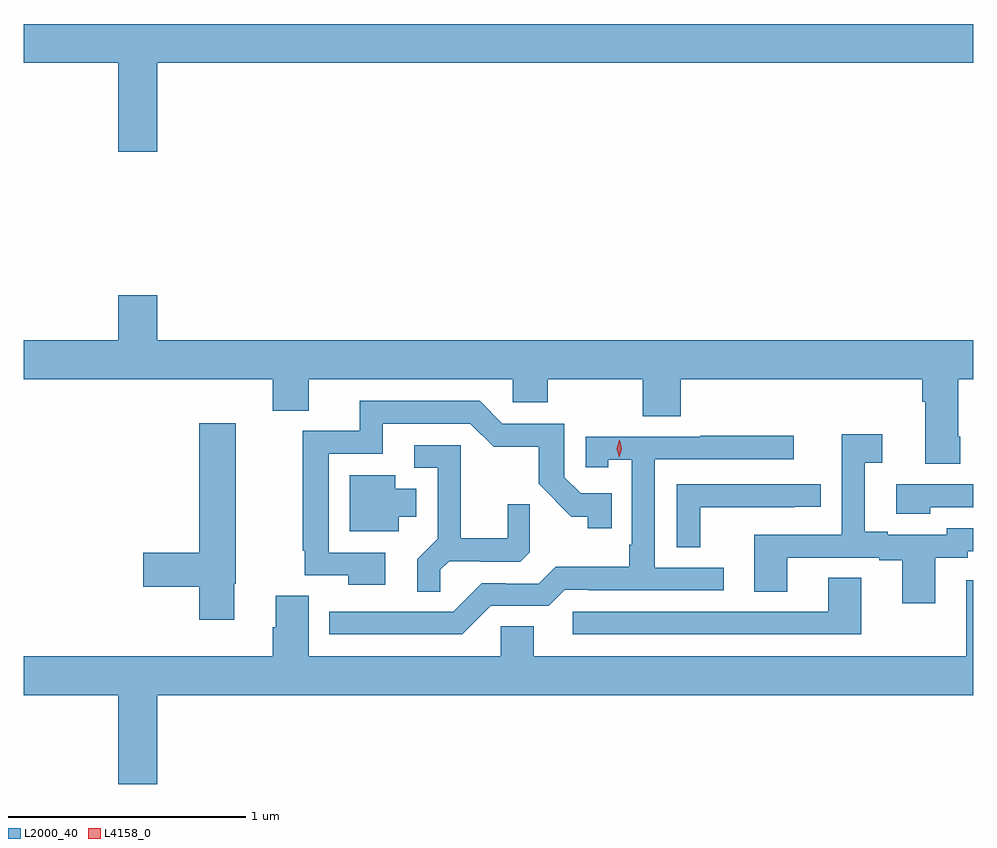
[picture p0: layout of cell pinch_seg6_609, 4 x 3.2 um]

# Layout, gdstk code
import gdstk
lib = gdstk.Library(unit=1e-6, precision=1e-09)
def P(c, l, *ps):  # polygons
    for p in ps: c.add(gdstk.Polygon(p, *l))
L2000_40 = (2000, 40)
L4158_0 = (4158, 0)

pinch_seg6_609 = lib.new_cell('pinch_seg6_609')
P(pinch_seg6_609, L2000_40, [(464.872,967.316),(468.31,967.316),(468.31,967.48),(464.31,967.48),(464.31,967.316),(464.708,967.316),(464.708,966.942),(464.872,966.942)],
  [(468.255,965.74),(468.247,965.74),(468.247,965.984),(468.31,965.984),(468.31,966.148),(464.872,966.148),(464.872,966.337),(464.708,966.337),(464.708,966.148),(464.31,966.148),(464.31,965.984),(465.359,965.984),(465.359,965.851),(465.511,965.851),(465.511,965.984),(466.371,965.984),(466.371,965.886),(466.518,965.886),(466.518,965.984),(466.918,965.984),(466.918,965.827),(467.078,965.827),(467.078,965.984),(468.095,965.984),(468.095,965.888),(468.107,965.888),(468.107,965.628),(468.255,965.628)],
  [(465.832,965.253),(465.594,965.253),(465.594,965.67),(465.823,965.67),(465.823,965.796),(466.191,965.796),(466.29,965.698),(466.479,965.698),(466.479,965.542),(466.616,965.405),(466.686,965.405),(466.686,965.355),(466.787,965.355),(466.787,965.502),(466.656,965.502),(466.587,965.571),(466.587,965.796),(466.326,965.796),(466.23,965.892),(465.725,965.892),(465.725,965.766),(465.486,965.766),(465.486,965.26),(465.493,965.26),(465.493,965.157),(465.676,965.157),(465.676,965.117),(465.832,965.117)],
  [(465.196,965.121),(465.204,965.121),(465.204,965.797),(465.05,965.797),(465.05,965.252),(464.814,965.252),(464.814,965.11),(465.05,965.11),(465.05,964.971),(465.196,964.971)],
  [(468.151,965.232),(468.288,965.232),(468.288,965.259),(468.31,965.259),(468.31,965.355),(468.198,965.355),(468.198,965.328),(467.95,965.328),(467.95,965.341),(467.854,965.341),(467.854,965.632),(467.926,965.632),(467.926,965.752),(467.757,965.752),(467.757,965.328),(467.387,965.328),(467.387,965.089),(467.527,965.089),(467.527,965.232),(467.915,965.232),(467.915,965.22),(468.011,965.22),(468.011,965.04),(468.151,965.04)],
  [(466.278,965.028),(466.521,965.028),(466.59,965.097),(466.69,965.097),(466.69,965.094),(467.26,965.094),(467.26,965.19),(466.968,965.19),(466.968,965.646),(467.554,965.646),(467.554,965.745),(467.161,965.745),(467.161,965.742),(466.677,965.742),(466.677,965.613),(466.773,965.613),(466.773,965.645),(466.872,965.645),(466.872,965.287),(466.86,965.287),(466.86,965.194),(466.552,965.194),(466.479,965.121),(466.34,965.121),(466.34,965.124),(466.239,965.124),(466.119,965.004),(465.596,965.004),(465.596,964.908),(466.158,964.908)],
  [(466.065,965.18),(466.102,965.217),(466.236,965.217),(466.236,965.214),(466.401,965.214),(466.442,965.255),(466.442,965.457),(466.348,965.457),(466.348,965.314),(466.151,965.314),(466.151,965.706),(465.954,965.706),(465.954,965.61),(466.053,965.61),(466.053,965.311),(465.967,965.225),(465.967,965.089),(466.065,965.089)],
  [(465.889,965.405),(465.964,965.405),(465.964,965.521),(465.874,965.521),(465.874,965.578),(465.683,965.578),(465.683,965.342),(465.889,965.342)],
  [(468.129,965.445),(468.31,965.445),(468.31,965.541),(467.985,965.541),(467.985,965.417),(468.129,965.417)],
  [(467.16,965.445),(467.555,965.445),(467.555,965.446),(467.668,965.446),(467.668,965.541),(467.061,965.541),(467.061,965.275),(467.16,965.275)],
  [(467.839,965.147),(467.699,965.147),(467.699,965.004),(466.623,965.004),(466.623,964.908),(467.839,964.908)],
  [(464.872,964.652),(468.31,964.652),(468.31,965.137),(468.281,965.137),(468.281,964.816),(466.459,964.816),(466.459,964.943),(466.32,964.943),(466.32,964.816),(465.511,964.816),(465.511,965.072),(465.371,965.072),(465.371,964.938),(465.359,964.938),(465.359,964.816),(464.31,964.816),(464.31,964.652),(464.708,964.652),(464.708,964.278),(464.872,964.278)])
P(pinch_seg6_609, L4158_0, [(466.818,965.655),(466.809,965.691),(466.819,965.727),(466.819,965.727),(466.82,965.727),(466.829,965.691),(466.819,965.655),(466.819,965.655)])

lib.write_gds('pinch_seg6_609.gds')
